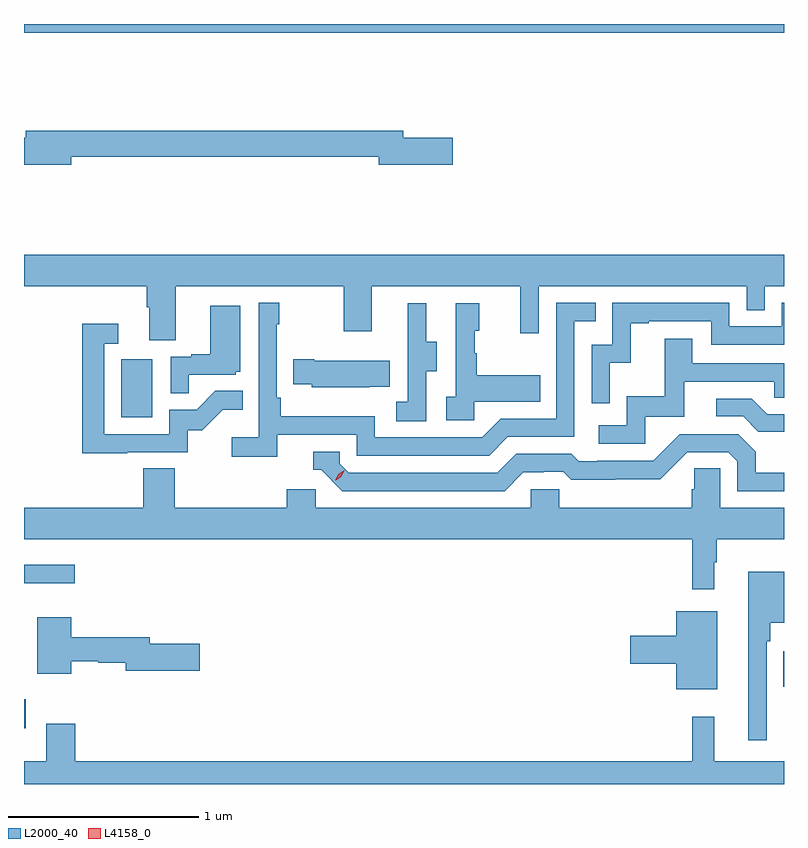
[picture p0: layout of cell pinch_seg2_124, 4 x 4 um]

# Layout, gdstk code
import gdstk
lib = gdstk.Library(unit=1e-6, precision=1e-09)
def R(c, l, rs):  # rectangles x0, y0, x1, y1
    for r in rs: c.add(gdstk.rectangle(r[:2], r[2:], *l))
def P(c, l, *ps):  # polygons
    for p in ps: c.add(gdstk.Polygon(p, *l))
L2000_40 = (2000, 40)
L4158_0 = (4158, 0)

pinch_seg2_124 = lib.new_cell('pinch_seg2_124')
R(pinch_seg2_124, L2000_40, [(1053.919,627.992,1053.928,628.146), (1057.916,628.211,1057.919,628.399), (1053.919,628.755,1054.186,628.852), (1054.43,629.628,1054.594,629.935), (1053.919,631.652,1057.919,631.699)])
P(pinch_seg2_124, L2000_40, [(1054.168,631),(1055.786,631),(1055.786,630.958),(1056.175,630.958),(1056.175,631.1),(1055.914,631.1),(1055.914,631.136),(1053.929,631.136),(1053.929,631.1),(1053.919,631.1),(1053.919,630.958),(1054.168,630.958)],
  [(1054.717,630.32),(1055.602,630.32),(1055.602,630.081),(1055.749,630.081),(1055.749,630.32),(1056.53,630.32),(1056.53,630.072),(1056.627,630.072),(1056.627,630.32),(1057.722,630.32),(1057.722,630.193),(1057.818,630.193),(1057.818,630.32),(1057.919,630.32),(1057.919,630.484),(1053.919,630.484),(1053.919,630.32),(1054.565,630.32),(1054.565,630.208),(1054.577,630.208),(1054.577,630.034),(1054.717,630.034)],
  [(1055.252,629.538),(1055.67,629.538),(1055.67,629.427),(1056.367,629.427),(1056.466,629.526),(1056.816,629.526),(1056.816,630.135),(1056.929,630.135),(1056.929,630.231),(1056.72,630.231),(1056.72,629.622),(1056.429,629.622),(1056.33,629.523),(1055.766,629.523),(1055.766,629.635),(1055.27,629.635),(1055.27,629.731),(1055.25,629.731),(1055.25,630.119),(1055.263,630.119),(1055.263,630.232),(1055.154,630.232),(1055.154,629.524),(1055.013,629.524),(1055.013,629.422),(1055.252,629.422)],
  [(1057.002,629.915),(1057.112,629.915),(1057.112,630.123),(1057.207,630.123),(1057.207,630.135),(1057.536,630.135),(1057.536,630.012),(1057.919,630.012),(1057.919,630.231),(1057.908,630.231),(1057.908,630.108),(1057.632,630.108),(1057.632,630.231),(1057.014,630.231),(1057.014,630.012),(1056.906,630.012),(1056.906,629.703),(1057.002,629.703)],
  [(1056.036,629.872),(1056.091,629.872),(1056.091,630.027),(1056.037,630.027),(1056.037,630.229),(1055.939,630.229),(1055.939,630.015),(1055.94,630.015),(1055.94,629.711),(1055.877,629.711),(1055.877,629.608),(1056.036,629.608)],
  [(1056.288,629.711),(1056.635,629.711),(1056.635,629.851),(1056.301,629.851),(1056.301,629.966),(1056.291,629.966),(1056.291,630.084),(1056.316,630.084),(1056.316,630.229),(1056.192,630.229),(1056.192,629.738),(1056.141,629.738),(1056.141,629.613),(1056.288,629.613)],
  [(1054.787,629.853),(1055.034,629.853),(1055.034,629.868),(1055.056,629.868),(1055.056,630.217),(1054.898,630.217),(1054.898,629.962),(1054.799,629.962),(1054.799,629.949),(1054.692,629.949),(1054.692,629.755),(1054.787,629.755)],
  [(1054.463,629.445),(1054.782,629.445),(1054.782,629.562),(1054.858,629.562),(1054.965,629.669),(1055.069,629.669),(1055.069,629.768),(1054.925,629.768),(1054.827,629.67),(1054.683,629.67),(1054.683,629.541),(1054.341,629.541),(1054.341,630.015),(1054.414,630.015),(1054.414,630.121),(1054.225,630.121),(1054.225,629.44),(1054.463,629.44)],
  [(1057.188,629.631),(1057.393,629.631),(1057.393,629.817),(1057.867,629.817),(1057.867,629.733),(1057.919,629.733),(1057.919,629.913),(1057.435,629.913),(1057.435,630.043),(1057.291,630.043),(1057.291,629.74),(1057.092,629.74),(1057.092,629.586),(1056.945,629.586),(1056.945,629.49),(1057.188,629.49)],
  [(1055.735,629.789),(1055.843,629.789),(1055.843,629.926),(1055.446,629.926),(1055.446,629.934),(1055.335,629.934),(1055.335,629.804),(1055.433,629.804),(1055.433,629.786),(1055.735,629.786)],
  [(1057.919,629.646),(1057.831,629.646),(1057.75,629.727),(1057.563,629.727),(1057.563,629.634),(1057.704,629.634),(1057.784,629.554),(1057.919,629.554)],
  [(1056.547,629.34),(1056.654,629.34),(1056.654,629.343),(1056.757,629.343),(1056.799,629.301),(1057.032,629.301),(1057.032,629.303),(1057.268,629.303),(1057.41,629.445),(1057.626,629.445),(1057.674,629.397),(1057.674,629.241),(1057.919,629.241),(1057.919,629.337),(1057.771,629.337),(1057.771,629.447),(1057.677,629.541),(1057.371,629.541),(1057.23,629.4),(1056.937,629.4),(1056.937,629.397),(1056.838,629.397),(1056.799,629.436),(1056.51,629.436),(1056.411,629.337),(1055.628,629.337),(1055.58,629.385),(1055.58,629.448),(1055.441,629.448),(1055.441,629.352),(1055.484,629.352),(1055.595,629.241),(1056.448,629.241)],
  [(1057.552,628.865),(1057.564,628.865),(1057.564,628.988),(1057.919,628.988),(1057.919,629.152),(1057.584,629.152),(1057.584,629.36),(1057.447,629.36),(1057.447,629.25),(1057.433,629.25),(1057.433,629.152),(1056.735,629.152),(1056.735,629.25),(1056.585,629.25),(1056.585,629.152),(1055.454,629.152),(1055.454,629.25),(1055.303,629.25),(1055.303,629.152),(1054.712,629.152),(1054.712,629.36),(1054.547,629.36),(1054.547,629.152),(1053.919,629.152),(1053.919,628.988),(1057.435,628.988),(1057.435,628.725),(1057.552,628.725)],
  [(1057.827,628.451),(1057.847,628.451),(1057.847,628.547),(1057.919,628.547),(1057.919,628.816),(1057.73,628.816),(1057.73,627.93),(1057.827,627.93)],
  [(1057.567,628.609),(1057.352,628.609),(1057.352,628.478),(1057.11,628.478),(1057.11,628.331),(1057.352,628.331),(1057.352,628.199),(1057.567,628.199)],
  [(1054.168,628.344),(1054.311,628.344),(1054.311,628.336),(1054.454,628.336),(1054.454,628.294),(1054.843,628.294),(1054.843,628.436),(1054.582,628.436),(1054.582,628.472),(1054.168,628.472),(1054.168,628.576),(1053.989,628.576),(1053.989,628.28),(1054.168,628.28)],
  [(1057.919,627.82),(1057.553,627.82),(1057.553,628.054),(1057.435,628.054),(1057.435,627.82),(1054.19,627.82),(1054.19,628.015),(1054.037,628.015),(1054.037,627.82),(1053.919,627.82),(1053.919,627.699),(1057.919,627.699)])
P(pinch_seg2_124, L4158_0, [(1055.558,629.297),(1055.558,629.298),(1055.574,629.33),(1055.605,629.35),(1055.605,629.35),(1055.605,629.35),(1055.589,629.317),(1055.559,629.297)])

lib.write_gds('pinch_seg2_124.gds')
